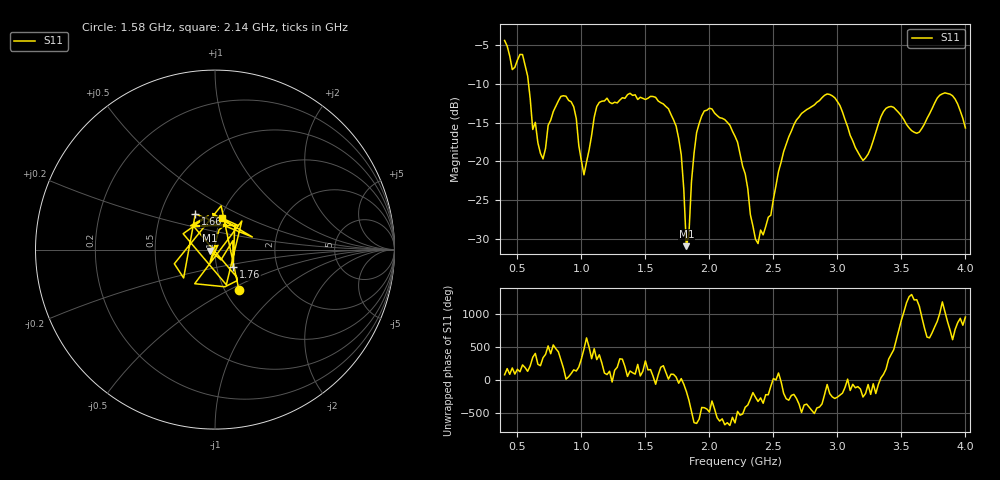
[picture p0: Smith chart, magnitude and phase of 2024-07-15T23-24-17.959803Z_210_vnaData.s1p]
!Created with skrf (http://scikit-rf.org).
# Hz S RI R 50.0
!freq ReS11 ImS11
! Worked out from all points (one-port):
!   181 points, 400 MHz to 4 GHz, reference 50 ohm
!   lowest |S11| = -30.9 dB at 1.82 GHz (marker M1), VSWR 1.06, Z = 47.3 - j0.529 ohm
!   |S11| at or under -10 dB: 587.2 MHz to end of sweep
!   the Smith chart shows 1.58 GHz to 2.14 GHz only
!   S11 on the Smith chart (normalised r, x): 1.58 GHz: 1.16, -0.56; 1.66 GHz: 0.75, +0.31; 1.76 GHz: 1.20, -0.24; 2.14 GHz: 1.02, +0.37
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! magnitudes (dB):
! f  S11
! 400 MHz  -4.4
! 460 MHz  -8.1
! 540 MHz  -6.2
! 620 MHz  -15.9
! 700 MHz  -19.7
! 860 MHz  -11.5
! 940 MHz  -12.9
! 1.02 GHz  -21.7
! 1.12 GHz  -12.9
! 1.3 GHz  -12.1
! 1.58 GHz  -11.7
! 1.66 GHz  -12.9
! 1.76 GHz  -17.0
! 1.8 GHz  -23.6
! 1.82 GHz  -30.9
! 1.88 GHz  -18.9
! 1.92 GHz  -15.1
! 2.14 GHz  -14.9
! 2.2 GHz  -16.7
! 2.38 GHz  -30.6
! 2.66 GHz  -15.3
! 2.92 GHz  -11.3
! 3.1 GHz  -16.6
! 3.2 GHz  -19.9
! 3.38 GHz  -13.1
! 3.56 GHz  -15.7
! 3.84 GHz  -11.1
! 4 GHz  -15.7
